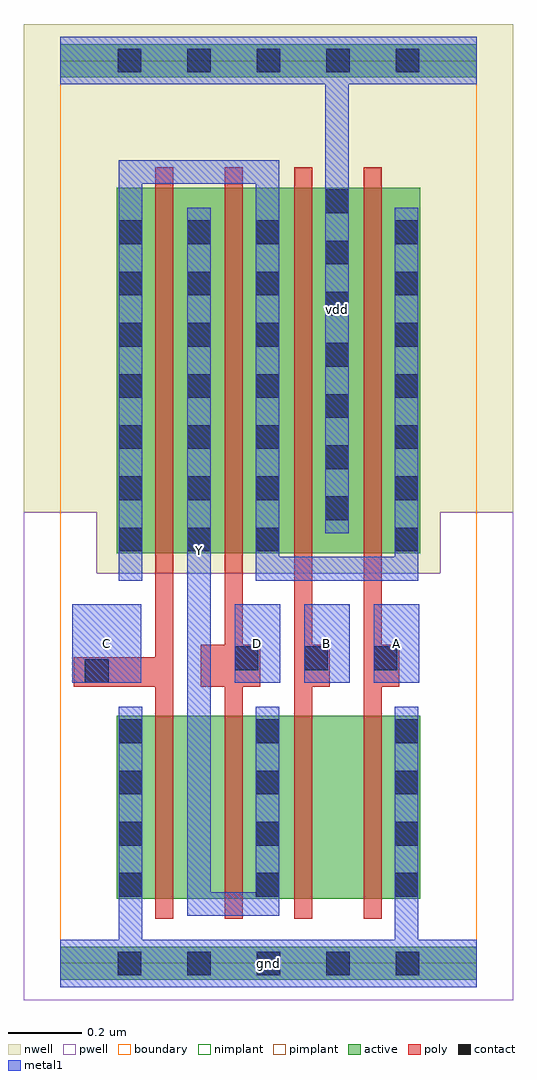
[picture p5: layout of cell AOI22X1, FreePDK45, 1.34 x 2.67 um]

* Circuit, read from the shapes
.subckt AOI22X1 A B C D Y gnd vdd
M1 n1 C gnd gnd nfet w=0.5u l=0.05u
M2 Y D n1 gnd nfet w=0.5u l=0.05u
M3 n2 B Y gnd nfet w=0.5u l=0.05u
M4 gnd A n2 gnd nfet w=0.5u l=0.05u
M5 Y C n3 vdd pfet w=1u l=0.05u
M6 n3 D Y vdd pfet w=1u l=0.05u
M7 vdd B n3 vdd pfet w=1u l=0.05u
M8 n3 A vdd vdd pfet w=1u l=0.05u
.ends

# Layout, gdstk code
import gdstk
lib = gdstk.Library(unit=1e-6, precision=5e-10)
def R(c, l, rs):  # rectangles x0, y0, x1, y1
    for r in rs: c.add(gdstk.rectangle(r[:2], r[2:], *l))
def A(c, l, x, y, w, h, nx, ny, dx, dy):  # array of equal rectangles
    R(c, l, [(x+i*dx, y+j*dy, x+i*dx+w, y+j*dy+h) for i in range(nx) for j in range(ny)])
def P(c, l, *ps):  # polygons
    for p in ps: c.add(gdstk.Polygon(p, *l))
active = (1, 0)
pwell = (2, 0)
nwell = (3, 0)
nimplant = (4, 0)
pimplant = (5, 0)
poly = (9, 0)
contact = (10, 0)
metal1 = (11, 0)
boundary = (235, 0)

aoi22x1 = lib.new_cell('AOI22X1')
A(aoi22x1, active, 0.26, 0.1775, 0.05, 0.5, 4, 1, 0.19, 0)
A(aoi22x1, active, 0.31, 0.1775, 0.14, 0.5, 3, 1, 0.19, 0)
A(aoi22x1, active, 0.26, 1.1225, 0.05, 1, 4, 1, 0.19, 0)
A(aoi22x1, active, 0.31, 1.1225, 0.14, 1, 3, 1, 0.19, 0)
R(aoi22x1, active, [(0,-0.045,1.14,0.045), (0.155,0.1775,0.26,0.6775), (0.88,0.1775,0.985,0.6775), (0.155,1.1225,0.26,2.1225), (0.88,1.1225,0.985,2.1225), (0,2.425,1.14,2.515)])
P(aoi22x1, pwell, [(-0.1,1.235),(0.1,1.235),(0.1,1.0675),(1.04,1.0675),(1.04,1.235),(1.24,1.235),(1.24,-0.1),(-0.1,-0.1)])
P(aoi22x1, nwell, [(1.24,1.235),(1.04,1.235),(1.04,1.0675),(0.1,1.0675),(0.1,1.235),(-0.1,1.235),(-0.1,2.57),(1.24,2.57)])
A(aoi22x1, nimplant, 0.26, 0.1775, 0.05, 0.5, 4, 1, 0.19, 0)
A(aoi22x1, nimplant, 0.31, 0.1775, 0.14, 0.5, 3, 1, 0.19, 0)
R(aoi22x1, nimplant, [(0.155,0.1775,0.26,0.6775), (0.88,0.1775,0.985,0.6775), (0,2.425,1.14,2.515)])
A(aoi22x1, pimplant, 0.26, 1.1225, 0.05, 1, 4, 1, 0.19, 0)
A(aoi22x1, pimplant, 0.31, 1.1225, 0.14, 1, 3, 1, 0.19, 0)
R(aoi22x1, pimplant, [(0,-0.045,1.14,0.045), (0.155,1.1225,0.26,2.1225), (0.88,1.1225,0.985,2.1225)])
A(aoi22x1, poly, 0.26, 0.1225, 0.05, 0.055, 4, 2, 0.19, 2)
A(aoi22x1, poly, 0.26, 0.1775, 0.05, 0.5, 4, 1, 0.19, 0)
A(aoi22x1, poly, 0.26, 1.1225, 0.05, 1, 4, 1, 0.19, 0)
P(aoi22x1, poly, [(0.83,1.1225),(0.88,1.1225),(0.88,0.8725),(0.9275,0.8725),(0.9275,0.7575),(0.88,0.7575),(0.88,0.6775),(0.83,0.6775)],
  [(0.64,1.1225),(0.69,1.1225),(0.69,0.8725),(0.7375,0.8725),(0.7375,0.7575),(0.69,0.7575),(0.69,0.6775),(0.64,0.6775)],
  [(0.45,0.7575),(0.385,0.7575),(0.385,0.8725),(0.45,0.8725),(0.45,1.1225),(0.5,1.1225),(0.5,0.8725),(0.5475,0.8725),(0.5475,0.7575),(0.5,0.7575),(0.5,0.6775),(0.45,0.6775)],
  [(0.26,0.7575),(0.0375,0.7575),(0.0375,0.8375),(0.26,0.8375),(0.26,1.1225),(0.31,1.1225),(0.31,0.6775),(0.26,0.6775)])
A(aoi22x1, contact, 0.1575, -0.0325, 0.065, 0.065, 5, 2, 0.19, 2.47)
A(aoi22x1, contact, 0.16, 0.1825, 0.065, 0.065, 1, 4, 0, 0.14)
A(aoi22x1, contact, 0.535, 0.1825, 0.065, 0.065, 1, 4, 0, 0.14)
A(aoi22x1, contact, 0.915, 0.1825, 0.065, 0.065, 1, 4, 0, 0.14)
A(aoi22x1, contact, 0.4775, 0.8025, 0.065, 0.065, 3, 1, 0.19, 0)
A(aoi22x1, contact, 0.16, 1.1275, 0.065, 0.065, 3, 7, 0.1875, 0.14)
A(aoi22x1, contact, 0.915, 1.1275, 0.065, 0.065, 1, 7, 0, 0.14)
A(aoi22x1, contact, 0.725, 1.2125, 0.065, 0.065, 1, 7, 0, 0.14)
R(aoi22x1, contact, [(0.0675,0.7675,0.1325,0.8325)])
A(aoi22x1, metal1, 0.4775, 0.7675, 0.125, 0.215, 3, 1, 0.19, 0)
R(aoi22x1, metal1, [(0.0325,0.7675,0.2225,0.9825)])
P(aoi22x1, metal1, [(0.915,1.1125),(0.915,2.0675),(0.98,2.0675),(0.98,1.0475),(0.535,1.0475),(0.535,2.1325),(0.225,2.1325),(0.225,1.0475),(0.16,1.0475),(0.16,2.1975),(0.6,2.1975),(0.6,1.1125)],
  [(0.4125,0.195),(0.535,0.195),(0.535,0.7025),(0.6,0.7025),(0.6,0.13),(0.3475,0.13),(0.3475,2.0675),(0.4125,2.0675)],
  [(0.16,0.065),(0.16,0.7025),(0.225,0.7025),(0.225,0.065),(0.915,0.065),(0.915,0.7025),(0.98,0.7025),(0.98,0.065),(1.14,0.065),(1.14,-0.065),(0,-0.065),(0,0.065)],
  [(0,2.405),(0,2.535),(1.14,2.535),(1.14,2.405),(0.79,2.405),(0.79,1.1775),(0.725,1.1775),(0.725,2.405)])
R(aoi22x1, boundary, [(0,0,1.14,2.47)])
aoi22x1.add(gdstk.Label('C', (0.1275,0.875), layer=11, texttype=237))
aoi22x1.add(gdstk.Label('Y', (0.38,1.13), layer=11, texttype=237))
aoi22x1.add(gdstk.Label('D', (0.54,0.875), layer=11, texttype=237))
aoi22x1.add(gdstk.Label('B', (0.73,0.875), layer=11, texttype=237))
aoi22x1.add(gdstk.Label('A', (0.92,0.875), layer=11, texttype=237))
aoi22x1.add(gdstk.Label('gnd', (0.57,0), layer=11, texttype=237))
aoi22x1.add(gdstk.Label('vdd', (0.7575,1.79), layer=11, texttype=237))

lib.write_gds('AOI22X1.gds')
